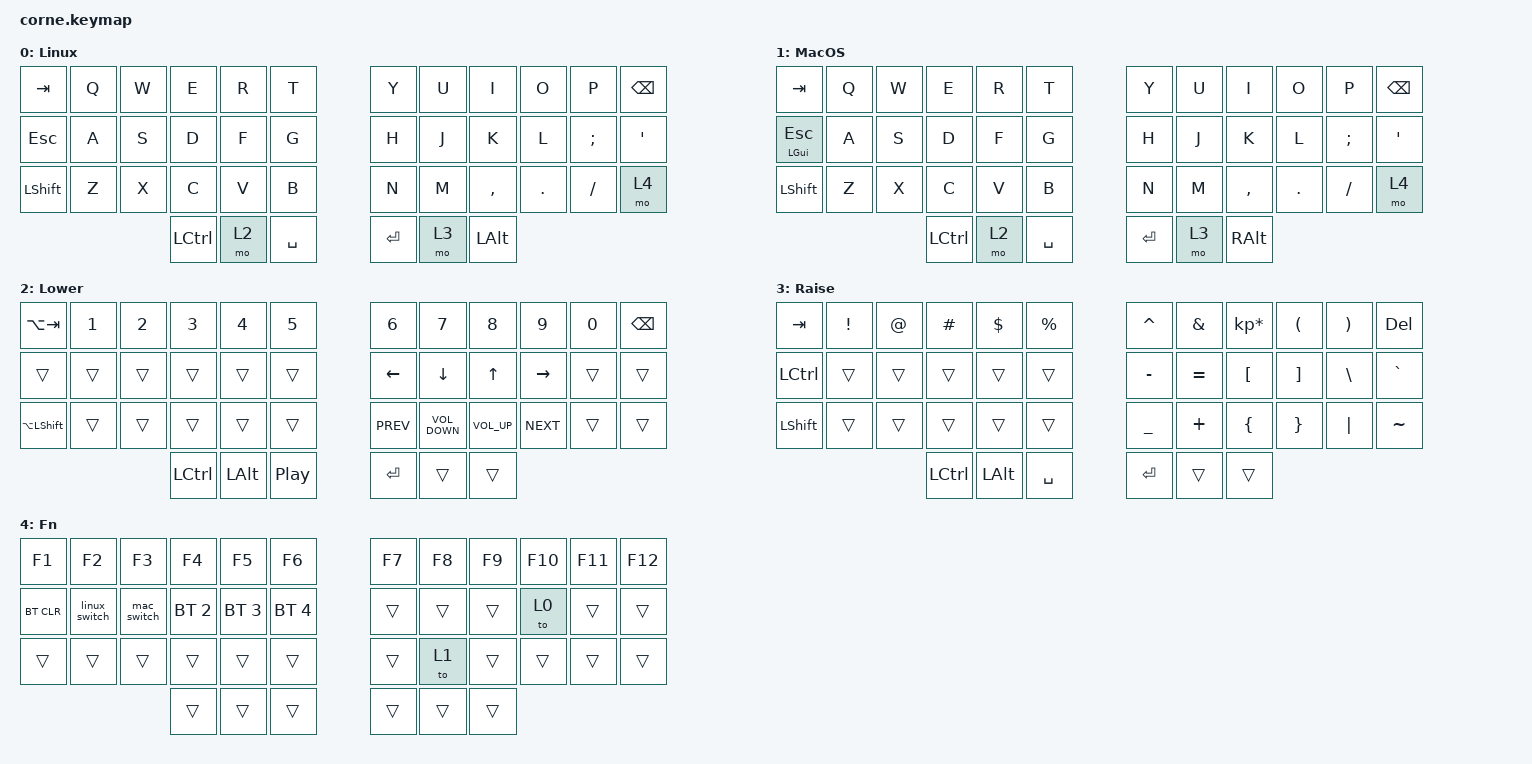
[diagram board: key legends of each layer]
/*
 * Copyright (c) 2020 The ZMK Contributors
 *
 * SPDX-License-Identifier: MIT
 */

#include <behaviors.dtsi>
#include <dt-bindings/zmk/bt.h>
#include <dt-bindings/zmk/keys.h>

/ {
    combos {
        compatible = "zmk,combos";

        linux_printscreen {
            bindings = <&kp LG(LS(S))>;
            key-positions = <27 28>;
            layers = <0>;
        };

        mac_screenshot {
            bindings = <&kp LG(LS(NUMBER_4))>;
            key-positions = <27 28>;
            layers = <1>;
        };
    };

    macros {
        linux_switch: new_macro {
            compatible = "zmk,behavior-macro";
            #binding-cells = <0>;
            bindings = <&bt BT_SEL 0 &to 0>;
            label = "LINUX_SWITCH";
        };

        mac_switch: mac_switch {
            compatible = "zmk,behavior-macro";
            #binding-cells = <0>;
            bindings = <&bt BT_SEL 1 &to 1>;
            label = "MAC_SWITCH";
        };
    };

    keymap {
        compatible = "zmk,keymap";

        linux_layer {
            display-name = "Linux";
            bindings = <
&kp TAB     &kp Q  &kp W  &kp E      &kp R  &kp T        &kp Y    &kp U  &kp I         &kp O    &kp P     &kp BSPC
&kp ESCAPE  &kp A  &kp S  &kp D      &kp F  &kp G        &kp H    &kp J  &kp K         &kp L    &kp SEMI  &kp SQT
&kp LSHFT   &kp Z  &kp X  &kp C      &kp V  &kp B        &kp N    &kp M  &kp COMMA     &kp DOT  &kp FSLH  &mo 4
                          &kp LCTRL  &mo 2  &kp SPACE    &kp RET  &mo 3  &kp LEFT_ALT
            >;
        };

        mac_layer {
            display-name = "MacOS";
            bindings = <
&kp TAB       &kp Q  &kp W  &kp E      &kp R  &kp T        &kp Y    &kp U  &kp I          &kp O    &kp P     &kp BSPC
&mt LGUI ESC  &kp A  &kp S  &kp D      &kp F  &kp G        &kp H    &kp J  &kp K          &kp L    &kp SEMI  &kp SQT
&kp LSHFT     &kp Z  &kp X  &kp C      &kp V  &kp B        &kp N    &kp M  &kp COMMA      &kp DOT  &kp FSLH  &mo 4
                            &kp LCTRL  &mo 2  &kp SPACE    &kp RET  &mo 3  &kp RIGHT_ALT
            >;
        };

        lower_layer {
            display-name = "Lower";
            bindings = <
&kp LA(TAB)    &kp N1  &kp N2  &kp N3     &kp N4        &kp N5              &kp N6      &kp N7             &kp N8           &kp N9      &kp N0  &kp BSPC
&trans         &trans  &trans  &trans     &trans        &trans              &kp LEFT    &kp DOWN           &kp UP           &kp RIGHT   &trans  &trans
&kp LA(LSHFT)  &trans  &trans  &trans     &trans        &trans              &kp C_PREV  &kp C_VOLUME_DOWN  &kp C_VOLUME_UP  &kp C_NEXT  &trans  &trans
                               &kp LCTRL  &kp LEFT_ALT  &kp C_PLAY_PAUSE    &kp RET     &trans             &trans
            >;
        };

        raise_layer {
            display-name = "Raise";
            bindings = <
&kp TAB    &kp EXCL  &kp AT  &kp HASH   &kp DLLR      &kp PRCNT    &kp CARET  &kp AMPS   &kp KP_MULTIPLY  &kp LPAR  &kp RPAR  &kp DEL
&kp LCTRL  &trans    &trans  &trans     &trans        &trans       &kp MINUS  &kp EQUAL  &kp LBKT         &kp RBKT  &kp BSLH  &kp GRAVE
&kp LSHFT  &trans    &trans  &trans     &trans        &trans       &kp UNDER  &kp PLUS   &kp LBRC         &kp RBRC  &kp PIPE  &kp TILDE
                             &kp LCTRL  &kp LEFT_ALT  &kp SPACE    &kp RET    &trans     &trans
            >;
        };

        function_layer {
            display-name = "Fn";
            bindings = <
&kp F1      &kp F2         &kp F3       &kp F4        &kp F5        &kp F6          &kp F7  &kp F8  &kp F9  &kp F10  &kp F11  &kp F12
&bt BT_CLR  &linux_switch  &mac_switch  &bt BT_SEL 2  &bt BT_SEL 3  &bt BT_SEL 4    &trans  &trans  &trans  &to 0    &trans   &trans
&trans      &trans         &trans       &trans        &trans        &trans          &trans  &to 1   &trans  &trans   &trans   &trans
                                        &trans        &trans        &trans          &trans  &trans  &trans
            >;
        };
    };
};
